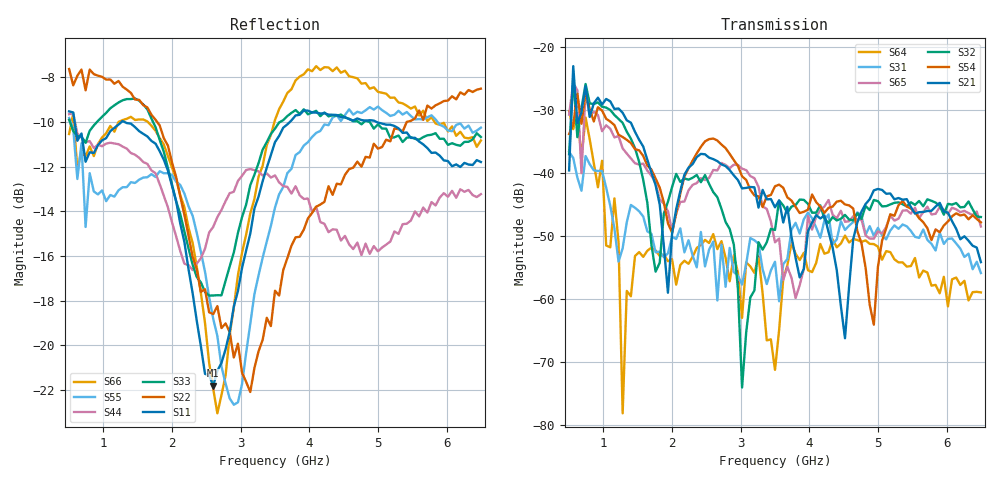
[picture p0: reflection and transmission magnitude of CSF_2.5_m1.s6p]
!Keysight Technologies,M9804A,MY58100912,A.14.10.03
!Date: Thursday, April 27, 2023 10:28:33
!Correction: S11(C  6-Port  )
!S12(C  6-Port  )
!S13(C  6-Port  )
!S14(C  6-Port  )
!S15(C  6-Port  )
!S16(C  6-Port  )
!S21(C  6-Port  )
!S22(C  6-Port  )
!S23(C  6-Port  )
!S24(C  6-Port  )
!S25(C  6-Port  )
!S26(C  6-Port  )
!S31(C  6-Port  )
!S32(C  6-Port  )
!S33(C  6-Port  )
!S34(C  6-Port  )
!S35(C  6-Port  )
!S36(C  6-Port  )
!S41(C  6-Port  )
!S42(C  6-Port  )
!S43(C  6-Port  )
!S44(C  6-Port  )
!S45(C  6-Port  )
!S46(C  6-Port  )
!S51(C  6-Port  )
!S52(C  6-Port  )
!S53(C  6-Port  )
!S54(C  6-Port  )
!S55(C  6-Port  )
!S56(C  6-Port  )
!S61(C  6-Port  )
!S62(C  6-Port  )
!S63(C  6-Port  )
!S64(C  6-Port  )
!S65(C  6-Port  )
!S66(C  6-Port  )
!S6P File: Measurement: :
# Hz S  RI  R 50
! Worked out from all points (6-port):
!   101 points, 500 MHz to 6.5 GHz, reference 50 ohm
!   strongest paths, dB at 500 MHz, 2 GHz, 3.5 GHz, 5 GHz, 6.5 GHz:
!     S21: -39.6, -49.6, -45.4, -42.5, -54.1
!     S54: -33.8, -49.5, -42.1, -54.9, -47.8
!     S32: -37.0, -42.2, -49.0, -44.5, -47.0
!     S65: -30.7, -49.2, -51.0, -49.3, -48.5
!     S31: -36.6, -50.1, -54.1, -48.7, -55.9
!     S64: -30.2, -53.7, -71.2, -51.7, -58.9
!   lowest |S11| = -21.8 dB at 2.6 GHz (marker M1), VSWR 1.18, Z = 42.7 + j1.95 ohm
!   |S11| at or under -10 dB: 579.8 MHz to 1.268 GHz (687.7 MHz wide, 74.5 % of centre); 1.302 GHz to 3.719 GHz (2.418 GHz wide, 96.3 % of centre); 4.976 GHz to end of sweep
